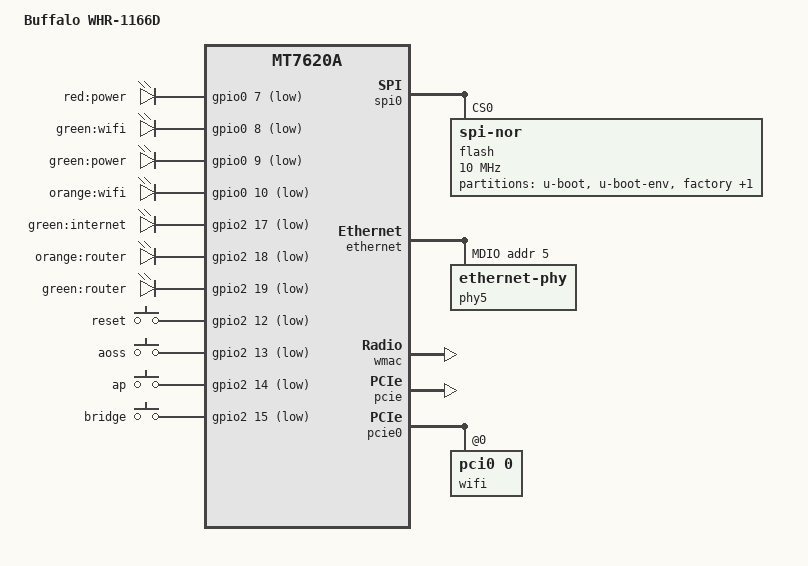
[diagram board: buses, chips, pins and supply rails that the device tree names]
#include "mt7620a.dtsi"

#include <dt-bindings/gpio/gpio.h>
#include <dt-bindings/input/input.h>

/ {
	compatible = "buffalo,whr-1166d", "ralink,mt7620a-soc";
	model = "Buffalo WHR-1166D";

	aliases {
		led-boot = &led_power_green;
		led-failsafe = &led_power_green;
		led-running = &led_power_green;
		led-upgrade = &led_power_green;
	};

	leds {
		compatible = "gpio-leds";

		power {
			label = "red:power";
			gpios = <&gpio0 7 GPIO_ACTIVE_LOW>;
		};

		wifi {
			label = "green:wifi";
			gpios = <&gpio0 8 GPIO_ACTIVE_LOW>;
		};

		led_power_green: power2 {
			label = "green:power";
			gpios = <&gpio0 9 GPIO_ACTIVE_LOW>;
		};

		wifi2 {
			label = "orange:wifi";
			gpios = <&gpio0 10 GPIO_ACTIVE_LOW>;
		};

		internet {
			label = "green:internet";
			gpios = <&gpio2 17 GPIO_ACTIVE_LOW>;
		};

		router {
			label = "orange:router";
			gpios = <&gpio2 18 GPIO_ACTIVE_LOW>;
		};

		router2 {
			label = "green:router";
			gpios = <&gpio2 19 GPIO_ACTIVE_LOW>;
		};
	};

	keys {
		compatible = "gpio-keys";

		reset {
			label = "reset";
			gpios = <&gpio2 12 GPIO_ACTIVE_LOW>;
			linux,code = <KEY_RESTART>;
		};

		aoss {
			label = "aoss";
			gpios = <&gpio2 13 GPIO_ACTIVE_LOW>;
			linux,code = <KEY_WPS_BUTTON>;
		};

		ap {
			label = "ap";
			gpios = <&gpio2 14 GPIO_ACTIVE_LOW>;
			linux,code = <BTN_0>;
			linux,input-type = <EV_SW>;
		};

		bridge {
			label = "bridge";
			gpios = <&gpio2 15 GPIO_ACTIVE_LOW>;
			linux,code = <BTN_0>;
			linux,input-type = <EV_SW>;
		};
	};
};

&gpio2 {
	status = "okay";
};

&spi0 {
	status = "okay";

	flash@0 {
		compatible = "jedec,spi-nor";
		reg = <0>;
		spi-max-frequency = <10000000>;

		partitions {
			compatible = "fixed-partitions";
			#address-cells = <1>;
			#size-cells = <1>;

			partition@0 {
				label = "u-boot";
				reg = <0x0 0x30000>;
				read-only;
			};

			partition@30000 {
				label = "u-boot-env";
				reg = <0x30000 0x10000>;
				read-only;
			};

			factory: partition@40000 {
				label = "factory";
				reg = <0x40000 0x10000>;
				read-only;
			};

			partition@50000 {
				compatible = "denx,uimage";
				label = "firmware";
				reg = <0x50000 0xfb0000>;
			};
		};
	};
};

&state_default {
	gpio {
		groups = "i2c", "uartf", "wled", "nd_sd";
		function = "gpio";
	};
};

&ethernet {
	pinctrl-names = "default";
	pinctrl-0 = <&rgmii1_pins &mdio_pins>;

	nvmem-cells = <&macaddr_factory_4>;
	nvmem-cell-names = "mac-address";

	port@5 {
		status = "okay";
		phy-handle = <&phy5>;
		phy-mode = "rgmii";
	};

	mdio-bus {
		status = "okay";

		phy5: ethernet-phy@5 {
			reg = <5>;
			phy-mode = "rgmii-rxid";
		};
	};
};

&wmac {
	ralink,mtd-eeprom = <&factory 0x0>;
};

&pcie {
	status = "okay";
};

&pcie0 {
	wifi@0,0 {
		compatible = "pci0,0";
		reg = <0x0000 0 0 0 0>;
		mediatek,mtd-eeprom = <&factory 0x8000>;
		ieee80211-freq-limit = <5000000 6000000>;
	};
};

&factory {
	compatible = "nvmem-cells";
	#address-cells = <1>;
	#size-cells = <1>;

	macaddr_factory_4: macaddr@4 {
		reg = <0x4 0x6>;
	};
};
